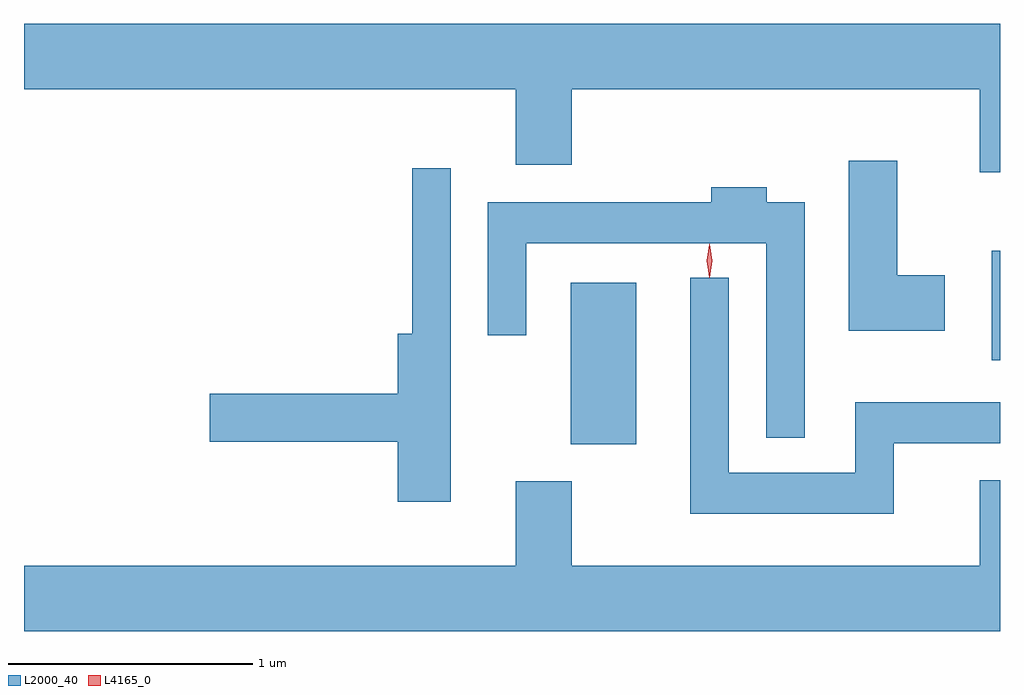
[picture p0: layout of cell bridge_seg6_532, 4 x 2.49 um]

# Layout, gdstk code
import gdstk
lib = gdstk.Library(unit=1e-6, precision=1e-09)
def R(c, l, rs):  # rectangles x0, y0, x1, y1
    for r in rs: c.add(gdstk.rectangle(r[:2], r[2:], *l))
def P(c, l, *ps):  # polygons
    for p in ps: c.add(gdstk.Polygon(p, *l))
L2000_40 = (2000, 40)
L4165_0 = (4165, 0)

bridge_seg6_532 = lib.new_cell('bridge_seg6_532')
R(bridge_seg6_532, L2000_40, [(483.886,1666.241,484.154,1666.904), (485.611,1666.586,485.645,1667.034)])
P(bridge_seg6_532, L2000_40, [(485.645,1667.964),(481.645,1667.964),(481.645,1667.696),(483.661,1667.696),(483.661,1667.386),(483.889,1667.386),(483.889,1667.696),(485.561,1667.696),(485.561,1667.356),(485.645,1667.356)],
  [(485.419,1666.934),(485.224,1666.934),(485.224,1667.404),(485.026,1667.404),(485.026,1666.706),(485.419,1666.706)],
  [(483.394,1667.373),(483.236,1667.373),(483.236,1666.694),(483.176,1666.694),(483.176,1666.449),(482.406,1666.449),(482.406,1666.251),(483.176,1666.251),(483.176,1666.006),(483.394,1666.006)],
  [(484.844,1667.234),(484.689,1667.234),(484.689,1667.294),(484.461,1667.294),(484.461,1667.234),(483.546,1667.234),(483.546,1666.688),(483.704,1666.688),(483.704,1667.066),(484.686,1667.066),(484.686,1666.268),(484.844,1666.268)],
  [(485.209,1666.246),(485.645,1666.246),(485.645,1666.414),(485.051,1666.414),(485.051,1666.124),(484.534,1666.124),(484.534,1666.923),(484.376,1666.923),(484.376,1665.956),(485.209,1665.956)],
  [(485.645,1666.094),(485.561,1666.094),(485.561,1665.744),(483.889,1665.744),(483.889,1666.089),(483.661,1666.089),(483.661,1665.744),(481.645,1665.744),(481.645,1665.476),(485.645,1665.476)])
P(bridge_seg6_532, L4165_0, [(484.453,1666.927),(484.444,1666.994),(484.453,1667.06),(484.454,1667.06),(484.454,1667.06),(484.464,1666.994),(484.454,1666.927),(484.454,1666.927)],
  [(484.454,1666.924),(484.445,1666.993),(484.454,1667.062),(484.455,1667.063),(484.456,1667.062),(484.465,1666.993),(484.456,1666.924),(484.455,1666.924)])

lib.write_gds('bridge_seg6_532.gds')
